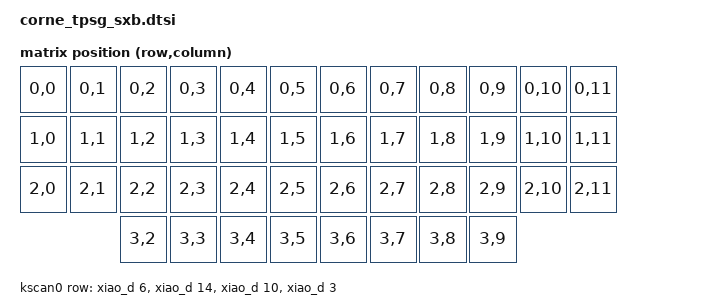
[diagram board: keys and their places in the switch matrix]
/*
 * Copyright (c) 2022 KyouTansan
 * SPDX-License-Identifier: MIT
 */
#include <dt-bindings/zmk/matrix_transform.h>
/ {
	chosen {
		zmk,kscan = &kscan0;
		zmk,matrix_transform = &default_transform;
//		zmk,underglow = &led_strip;
	};
	default_transform: keymap_transform_0 {
		compatible = "zmk,matrix-transform";
		columns = <12>;
		rows = <4>;
		map = <
RC(0,0) RC(0,1) RC(0,2) RC(0,3) RC(0,4) RC(0,5)  RC(0,6) RC(0,7)  RC(0,8) RC(0,9) RC(0,10) RC(0,11)
RC(1,0) RC(1,1) RC(1,2) RC(1,3) RC(1,4) RC(1,5)  RC(1,6) RC(1,7)  RC(1,8) RC(1,9) RC(1,10) RC(1,11)
RC(2,0) RC(2,1) RC(2,2) RC(2,3) RC(2,4) RC(2,5)  RC(2,6) RC(2,7)  RC(2,8) RC(2,9) RC(2,10) RC(2,11)
                RC(3,2) RC(3,3) RC(3,4) RC(3,5)  RC(3,6) RC(3,7)  RC(3,8) RC(3,9)
		>;
	};
	kscan0: kscan0 {
		compatible = "zmk,kscan-gpio-matrix";
		label = "KSCAN0";
		diode-direction = "col2row";
		row-gpios
			= <&xiao_d 6  (GPIO_ACTIVE_HIGH | GPIO_PULL_DOWN)>
			, <&xiao_d 14 (GPIO_ACTIVE_HIGH | GPIO_PULL_DOWN)>
			, <&xiao_d 10 (GPIO_ACTIVE_HIGH | GPIO_PULL_DOWN)>
			, <&xiao_d 3  (GPIO_ACTIVE_HIGH | GPIO_PULL_DOWN)>
			;
	};
	vbatt {
		compatible = "zmk,battery-voltage-divider";
		label = "BATTERY";
		io-channels = <&adc 7>;
		power-gpios = <&gpio0 31 (GPIO_OPEN_DRAIN | GPIO_ACTIVE_LOW)>;
		output-ohms = <1000000>;
		full-ohms = <(1000000 + 510000)>;
		status = "ok";
	};
	tpoint {
		compatible = "zmk,trackpoint-strain-gauge";
		label = "TRACKPOINT_TPSG";
		io-channels = <&adc 1>,<&adc 4>;
//		output-ohms = <1000>;
//		full-ohms = <(1000 + 345)>;
		power-gpios {
		    label = "ADC_POWER";
		    pin = <13>;
		    flags = <0>;
		    };
		power-gpios = <&gpio0 16 0>;
	};
};
